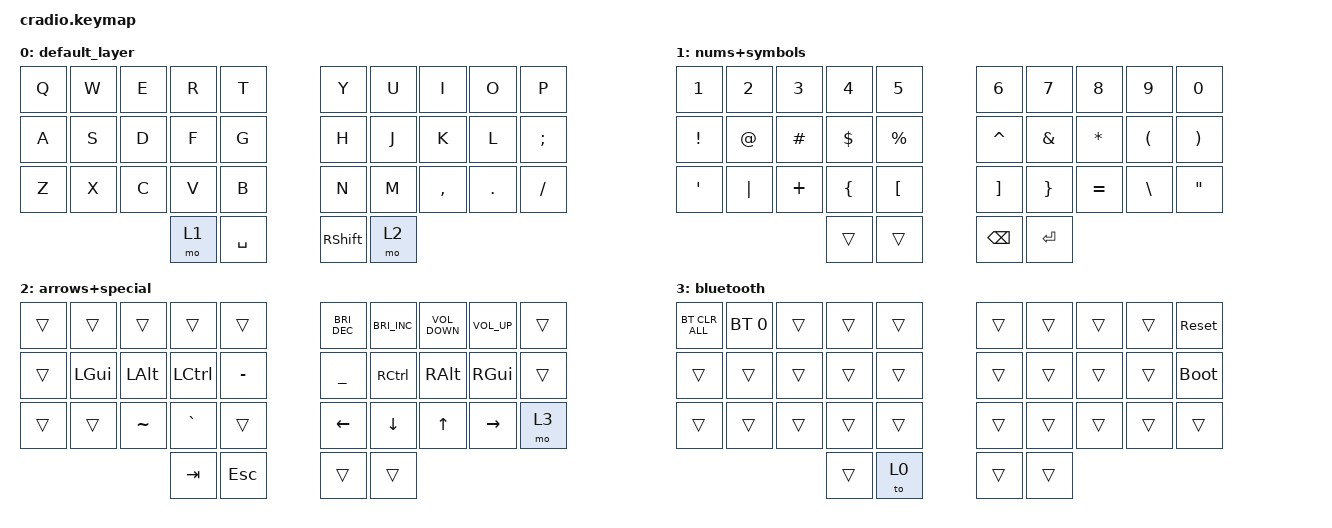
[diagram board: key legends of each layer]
// Copyright (c) 2022 The ZMK Contributors
// SPDX-License-Identifier: MIT

#include <behaviors.dtsi>
#include <dt-bindings/zmk/bt.h>
#include <dt-bindings/zmk/keys.h>

/ {
    behaviors {
        ht: hold_tap {
            compatible = "zmk,behavior-hold-tap";
            #binding-cells = <2>;
            flavor = "tap-preferred";
            tapping-term-ms = <220>;
            quick-tap-ms = <150>;
            require-prior-idle-ms = <100>;
            bindings = <&kp>, <&kp>;
        };

        hrm: hrm {
            compatible = "zmk,behavior-hold-tap";
            #binding-cells = <2>;
            flavor = "tap-preferred";
            tapping-term-ms = <200>;
            quick-tap-ms = <200>;
            require-prior-idle-ms = <125>;
            bindings = <&kp>, <&kp>;
        };
    };

    conditional_layers {
        compatible = "zmk,conditional-layers";

        tri_layer {
            if-layers = <1 2>;
            then-layer = <3>;
        };
    };

    combos {
        compatible = "zmk,combos";

        bootloader-left {
            bindings = <&bootloader>;
            key-positions = <0 1 2>;
        };

        bootloader-right {
            bindings = <&bootloader>;
            key-positions = <9 8 7>;
        };

        b {
            bindings = <&bt BT_CLR_ALL>;
            key-positions = <20 21 22>;
        };
    };

    keymap {
        compatible = "zmk,keymap";

        default_layer {
            bindings = <
&kp Q  &kp W  &kp E  &kp R  &kp T        &kp Y            &kp U  &kp I      &kp O    &kp P
&kp A  &kp S  &kp D  &kp F  &kp G        &kp H            &kp J  &kp K      &kp L    &kp SEMICOLON
&kp Z  &kp X  &kp C  &kp V  &kp B        &kp N            &kp M  &kp COMMA  &kp DOT  &kp FSLH
                     &mo 1  &kp SPACE    &kp RIGHT_SHIFT  &mo 2
            >;
        };

        nums+symbols {
            bindings = <
&kp NUMBER_1    &kp NUMBER_2  &kp NUMBER_3  &kp NUMBER_4    &kp NUMBER_5        &kp NUMBER_6       &kp NUMBER_7     &kp NUMBER_8  &kp NUMBER_9          &kp NUMBER_0
&kp EXCL        &kp AT        &kp HASH      &kp DOLLAR      &kp PERCENT         &kp CARET          &kp AMPERSAND    &kp STAR      &kp LEFT_PARENTHESIS  &kp RIGHT_PARENTHESIS
&kp APOSTROPHE  &kp PIPE      &kp PLUS      &kp LEFT_BRACE  &kp LEFT_BRACKET    &kp RIGHT_BRACKET  &kp RIGHT_BRACE  &kp EQUAL     &kp BACKSLASH         &kp DOUBLE_QUOTES
                                            &trans          &trans              &kp BACKSPACE      &kp ENTER
            >;
        };

        arrows+special {
            bindings = <
&trans  &trans        &trans        &trans            &trans        &kp C_BRIGHTNESS_DEC  &kp C_BRIGHTNESS_INC  &kp C_VOLUME_DOWN  &kp C_VOLUME_UP  &trans
&trans  &kp LEFT_GUI  &kp LEFT_ALT  &kp LEFT_CONTROL  &kp MINUS     &kp UNDERSCORE        &kp RIGHT_CONTROL     &kp RIGHT_ALT      &kp RIGHT_GUI    &trans
&trans  &trans        &kp TILDE     &kp GRAVE         &trans        &kp LEFT_ARROW        &kp DOWN_ARROW        &kp UP_ARROW       &kp RIGHT_ARROW  &mo 3
                                    &kp TAB           &kp ESCAPE    &trans                &trans
            >;
        };

        bluetooth {
            bindings = <
&bt BT_CLR_ALL  &bt BT_SEL 0  &trans  &trans  &trans    &trans  &trans  &trans  &trans  &sys_reset
&trans          &trans        &trans  &trans  &trans    &trans  &trans  &trans  &trans  &bootloader
&trans          &trans        &trans  &trans  &trans    &trans  &trans  &trans  &trans  &trans
                                      &trans  &to 0     &trans  &trans
            >;
        };
    };
};
